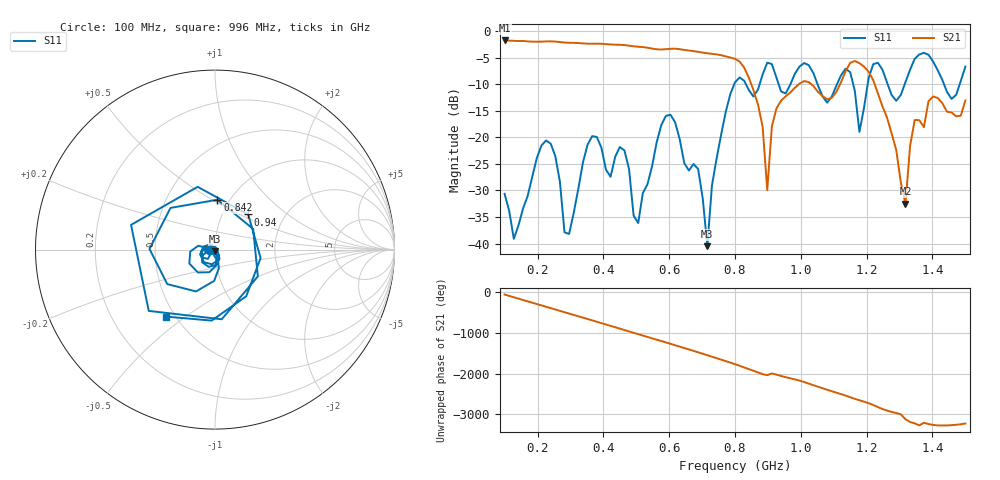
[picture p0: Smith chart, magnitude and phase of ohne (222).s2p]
! NanoVNA-App
! Date: 2025-09-25 14:22:31
! Start: 100MHz Stop: 1,5GHz Points: 101
! S-Parameter data: F S11 S21 S12 S22
# Hz S RI R 50
!  Frequency  S11_Real  S11_Imag  S21_Real  S21_Imag  S12_Real  S12_Imag  S22_Real  S22_Imag
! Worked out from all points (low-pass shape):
!   101 points, 100 MHz to 1.5 GHz, reference 50 ohm
!   highest |S21| = -1.79 dB at 100 MHz (marker M1); lowest = -32.5 dB at 1.318 GHz (marker M2)
!   |S21| within 3 dB of the highest: start of sweep to 772.1 MHz
!   lowest |S11| = -40.5 dB at 716 MHz (marker M3), VSWR 1.02, Z = 49.8 - j0.928 ohm
!   |S11| at or under -10 dB: start of sweep to 797.9 MHz; 833 MHz to 875 MHz (41.97 MHz wide, 4.91 % of centre); 1.051 GHz to 1.11 GHz (59.58 MHz wide, 5.51 % of centre)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
!   S12 and S22 are empty: the file has one direction only
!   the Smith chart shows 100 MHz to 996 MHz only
!   S11 on the Smith chart (normalised r, x): 100 MHz: 0.94, -0.01; 842 MHz: 0.88, +0.53; 940 MHz: 1.32, +0.56; 996 MHz: 0.45, -0.42
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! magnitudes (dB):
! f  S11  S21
! 100 MHz  -30.6  -1.8
! 128 MHz  -39.1  -1.9
! 226 MHz  -20.6  -2.0
! 296 MHz  -38.2  -2.2
! 338 MHz  -24.7  -2.3
! 464 MHz  -22.5  -2.7
! 506 MHz  -36.1  -3.0
! 576 MHz  -17.7  -3.5
! 688 MHz  -26.0  -3.9
! 716 MHz  -40.5  -4.2
! 800 MHz  -9.7  -5.3
! 842 MHz  -11.1  -8.8
! 898 MHz  -6.0  -29.9
! 940 MHz  -11.4  -13.1
! 996 MHz  -6.7  -9.9
! 1.038 GHz  -7.9  -10.3
! 1.178 GHz  -19.0  -6.1
! 1.22 GHz  -6.3  -9.3
! 1.276 GHz  -12.1  -19.3
! 1.318 GHz  -9.6  -32.5
! 1.346 GHz  -5.2  -16.8
! 1.5 GHz  -6.7  -13.1
